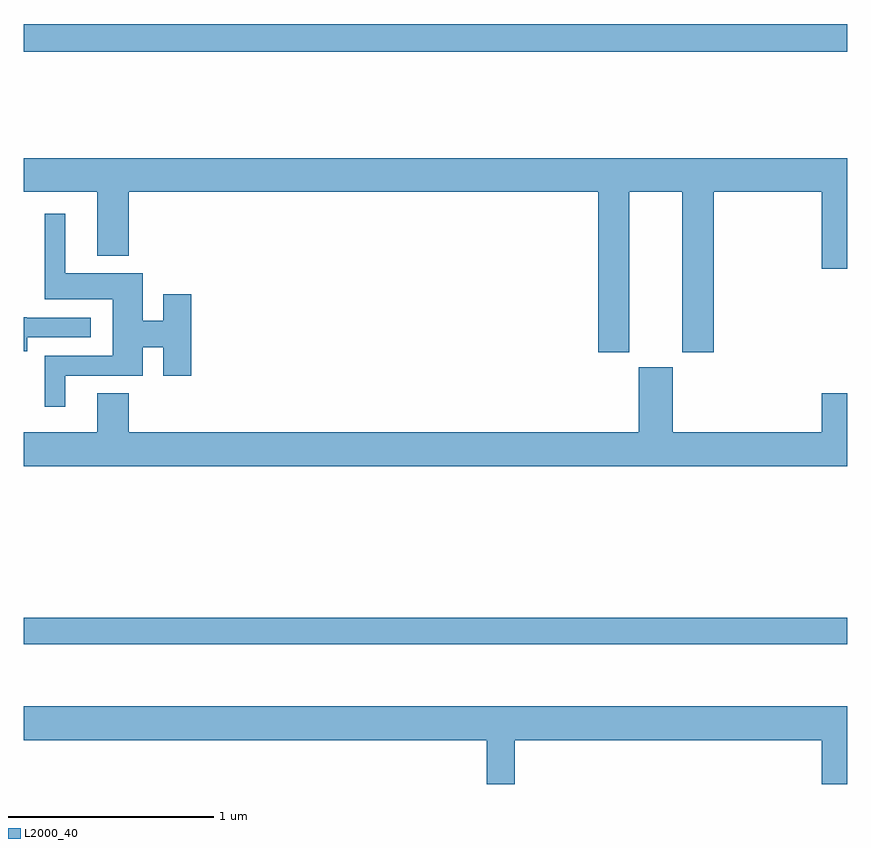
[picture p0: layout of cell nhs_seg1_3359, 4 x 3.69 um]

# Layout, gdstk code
import gdstk
lib = gdstk.Library(unit=1e-6, precision=1e-09)
def R(c, l, rs):  # rectangles x0, y0, x1, y1
    for r in rs: c.add(gdstk.rectangle(r[:2], r[2:], *l))
def P(c, l, *ps):  # polygons
    for p in ps: c.add(gdstk.Polygon(p, *l))
L2000_40 = (2000, 40)

nhs_seg1_3359 = lib.new_cell('nhs_seg1_3359')
R(nhs_seg1_3359, L2000_40, [(293,538.878,297,539.006), (293,541.756,297,541.892)])
P(nhs_seg1_3359, L2000_40, [(295.942,541.076),(296.198,541.076),(296.198,540.297),(296.351,540.297),(296.351,541.076),(296.876,541.076),(296.876,540.702),(297,540.702),(297,541.24),(293,541.24),(293,541.076),(293.357,541.076),(293.357,540.767),(293.51,540.767),(293.51,541.076),(295.79,541.076),(295.79,540.297),(295.942,540.297)],
  [(293.2,540.183),(293.578,540.183),(293.578,540.321),(293.678,540.321),(293.678,540.183),(293.813,540.183),(293.813,540.58),(293.678,540.58),(293.678,540.449),(293.578,540.449),(293.578,540.682),(293.2,540.682),(293.2,540.97),(293.102,540.97),(293.102,540.554),(293.432,540.554),(293.432,540.279),(293.102,540.279),(293.102,540.033),(293.2,540.033)],
  [(293.017,540.369),(293.326,540.369),(293.326,540.465),(293.013,540.465),(293.013,540.466),(293,540.466),(293,540.301),(293.017,540.301)],
  [(297,540.097),(296.876,540.097),(296.876,539.908),(296.152,539.908),(296.152,540.225),(295.988,540.225),(295.988,539.908),(293.51,539.908),(293.51,540.098),(293.357,540.098),(293.357,539.908),(293,539.908),(293,539.744),(297,539.744)],
  [(295.385,538.412),(296.876,538.412),(296.876,538.199),(297,538.199),(297,538.576),(293,538.576),(293,538.412),(295.249,538.412),(295.249,538.199),(295.385,538.199)])

lib.write_gds('nhs_seg1_3359.gds')
